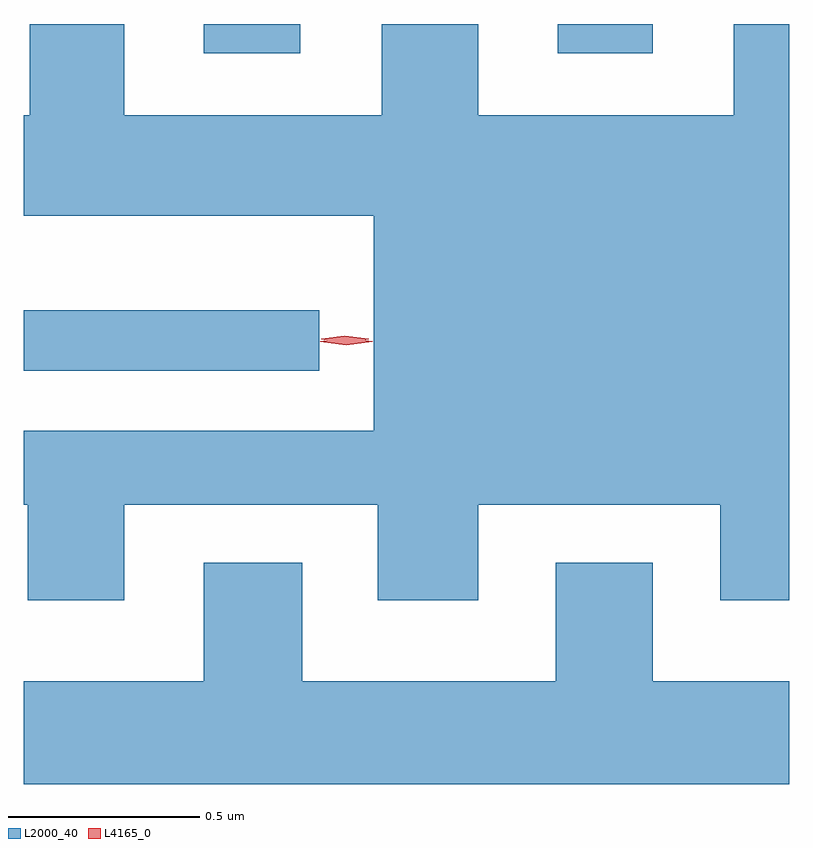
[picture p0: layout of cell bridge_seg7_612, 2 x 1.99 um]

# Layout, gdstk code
import gdstk
lib = gdstk.Library(unit=1e-6, precision=1e-09)
def R(c, l, rs):  # rectangles x0, y0, x1, y1
    for r in rs: c.add(gdstk.rectangle(r[:2], r[2:], *l))
def P(c, l, *ps):  # polygons
    for p in ps: c.add(gdstk.Polygon(p, *l))
L2000_40 = (2000, 40)
L4165_0 = (4165, 0)

bridge_seg7_612 = lib.new_cell('bridge_seg7_612')
R(bridge_seg7_612, L2000_40, [(635.296,1801.976,636.068,1802.134), (635.766,1802.806,636.019,1802.882), (636.691,1802.806,636.939,1802.882)])
P(bridge_seg7_612, L2000_40, [(635.559,1801.626),(636.221,1801.626),(636.221,1801.376),(636.484,1801.376),(636.484,1801.626),(637.116,1801.626),(637.116,1801.376),(637.296,1801.376),(637.296,1802.882),(637.151,1802.882),(637.151,1802.644),(636.484,1802.644),(636.484,1802.882),(636.231,1802.882),(636.231,1802.644),(635.559,1802.644),(635.559,1802.882),(635.311,1802.882),(635.311,1802.644),(635.296,1802.644),(635.296,1802.381),(636.211,1802.381),(636.211,1801.819),(635.296,1801.819),(635.296,1801.626),(635.306,1801.626),(635.306,1801.376),(635.559,1801.376)],
  [(637.296,1801.164),(636.939,1801.164),(636.939,1801.474),(636.686,1801.474),(636.686,1801.164),(636.024,1801.164),(636.024,1801.474),(635.766,1801.474),(635.766,1801.164),(635.296,1801.164),(635.296,1800.896),(637.296,1800.896)])
P(bridge_seg7_612, L4165_0, [(636.139,1802.043),(636.07,1802.052),(636.07,1802.053),(636.07,1802.053),(636.139,1802.063),(636.207,1802.053),(636.208,1802.053),(636.207,1802.052)],
  [(636.135,1802.048),(636.073,1802.058),(636.073,1802.058),(636.073,1802.059),(636.135,1802.068),(636.197,1802.059),(636.198,1802.059),(636.197,1802.058)])

lib.write_gds('bridge_seg7_612.gds')
